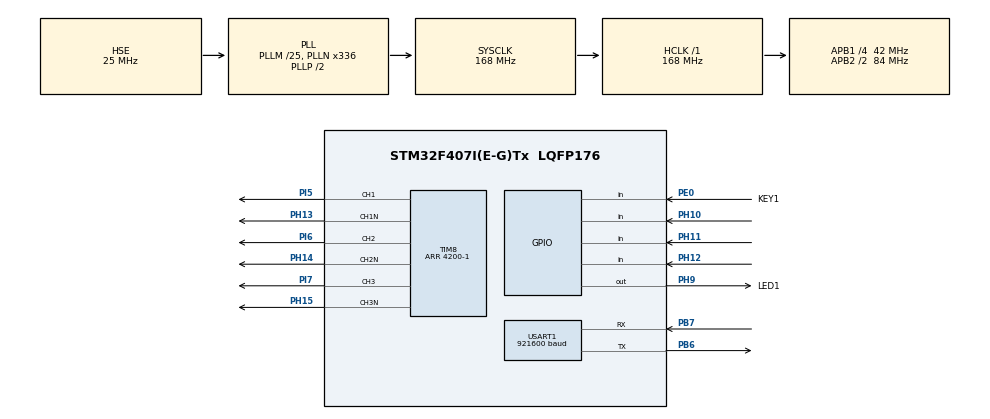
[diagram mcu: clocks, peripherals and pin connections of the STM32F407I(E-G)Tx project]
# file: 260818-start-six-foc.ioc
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Mcu.Family=STM32F4
Mcu.Name=STM32F407I(E-G)Tx
Mcu.Package=LQFP176
NVIC.PriorityGroup=NVIC_PRIORITYGROUP_4
PA13.Mode=Serial_Wire
PA13.Signal=SYS_JTMS-SWDIO
PA14.Mode=Serial_Wire
PA14.Signal=SYS_JTCK-SWCLK
PB6.Mode=Asynchronous
PB6.Signal=USART1_TX
PB7.Mode=Asynchronous
PB7.Signal=USART1_RX
PC14-OSC32_IN.Mode=LSE-External-Oscillator
PC14-OSC32_IN.Signal=RCC_OSC32_IN
PC15-OSC32_OUT.Mode=LSE-External-Oscillator
PC15-OSC32_OUT.Signal=RCC_OSC32_OUT
PE0.GPIO_Label=KEY1
PE0.GPIO_PuPd=GPIO_PULLUP
PE0.Signal=GPIO_Input
PH0-OSC_IN.Mode=HSE-External-Oscillator
PH0-OSC_IN.Signal=RCC_OSC_IN
PH1-OSC_OUT.Mode=HSE-External-Oscillator
PH1-OSC_OUT.Signal=RCC_OSC_OUT
PH10.GPIO_PuPd=GPIO_PULLUP
PH10.Signal=GPIO_Input
PH11.GPIO_PuPd=GPIO_PULLUP
PH11.Signal=GPIO_Input
PH12.GPIO_PuPd=GPIO_PULLUP
PH12.Signal=GPIO_Input
PH13.Mode=PWM Generation1 CH1 CH1N
PH13.Signal=TIM8_CH1N
PH14.Mode=PWM Generation2 CH2 CH2N
PH14.Signal=TIM8_CH2N
PH15.Mode=PWM Generation3 CH3 CH3N
PH15.Signal=TIM8_CH3N
PH9.GPIO_Label=LED1
PH9.Signal=GPIO_Output
PI5.Signal=S_TIM8_CH1
PI6.Signal=S_TIM8_CH2
PI7.Signal=S_TIM8_CH3
ProjectManager.HeapSize=0x200
ProjectManager.StackSize=0x400
ProjectManager.TargetToolchain=MDK-ARM V5.32
RCC.48MHZClocksFreq_Value=84000000
RCC.AHBFreq_Value=168000000
RCC.APB1CLKDivider=RCC_HCLK_DIV4
RCC.APB1Freq_Value=42000000
RCC.APB1TimFreq_Value=84000000
RCC.APB2CLKDivider=RCC_HCLK_DIV2
RCC.APB2Freq_Value=84000000
RCC.APB2TimFreq_Value=168000000
RCC.CortexFreq_Value=168000000
RCC.HCLKFreq_Value=168000000
RCC.HSE_VALUE=25000000
RCC.HSI_VALUE=16000000
RCC.PLLM=25
RCC.PLLN=336
RCC.PLLSourceVirtual=RCC_PLLSOURCE_HSE
RCC.SYSCLKFreq_VALUE=168000000
RCC.SYSCLKSource=RCC_SYSCLKSOURCE_PLLCLK
RCC.VCOOutputFreq_Value=336000000
SH.S_TIM8_CH1.0=TIM8_CH1,PWM Generation1 CH1 CH1N
SH.S_TIM8_CH2.0=TIM8_CH2,PWM Generation2 CH2 CH2N
SH.S_TIM8_CH3.0=TIM8_CH3,PWM Generation3 CH3 CH3N
TIM8.Channel-PWM\ Generation1\ CH1\ CH1N=TIM_CHANNEL_1
TIM8.Channel-PWM\ Generation2\ CH2\ CH2N=TIM_CHANNEL_2
TIM8.Channel-PWM\ Generation3\ CH3\ CH3N=TIM_CHANNEL_3
TIM8.CounterMode=TIM_COUNTERMODE_CENTERALIGNED1
TIM8.DeadTime=34
TIM8.OffStateIDLEMode=TIM_OSSI_ENABLE
TIM8.OffStateRunMode=TIM_OSSR_ENABLE
TIM8.Period=4200-1
USART1.BaudRate=921600
USART1.VirtualMode=VM_ASYNC
board=custom

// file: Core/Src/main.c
/* USER CODE BEGIN Header */
/**
  ******************************************************************************
  * @file           : main.c
  * @brief          : Main program body
  ******************************************************************************
  * @attention
  *
  * Copyright (c) 2026 STMicroelectronics.
  * All rights reserved.
  *
  * This software is licensed under terms that can be found in the LICENSE file
  * in the root directory of this software component.
  * If no LICENSE file comes with this software, it is provided AS-IS.
  *
  ******************************************************************************
  */
/* USER CODE END Header */
#include "main.h"
#include "tim.h"
#include "usart.h"
#include "gpio.h"

void SystemClock_Config(void);
/* USER CODE BEGIN PFP */
static void Motor_SetStep(uint8_t step)
{
  uint32_t pwm_value = 420;

  HAL_TIM_PWM_Stop(&htim8, TIM_CHANNEL_1);
  HAL_TIM_PWM_Stop(&htim8, TIM_CHANNEL_2);
  HAL_TIM_PWM_Stop(&htim8, TIM_CHANNEL_3);

  HAL_TIMEx_PWMN_Stop(&htim8, TIM_CHANNEL_1);
  HAL_TIMEx_PWMN_Stop(&htim8, TIM_CHANNEL_2);
  HAL_TIMEx_PWMN_Stop(&htim8, TIM_CHANNEL_3);

  switch (step)
  {
    case 1: //A+ B-
      __HAL_TIM_SET_COMPARE(&htim8, TIM_CHANNEL_1, pwm_value);
      __HAL_TIM_SET_COMPARE(&htim8, TIM_CHANNEL_2, 65535); //直接拉到最满，确保恒定导通
      HAL_TIM_PWM_Start(&htim8, TIM_CHANNEL_1);
      HAL_TIMEx_PWMN_Start(&htim8, TIM_CHANNEL_2);
      break;

    case 2: //B- C+
      __HAL_TIM_SET_COMPARE(&htim8, TIM_CHANNEL_3, pwm_value);
      __HAL_TIM_SET_COMPARE(&htim8, TIM_CHANNEL_2, 65535); //直接拉到最满，确保恒定导通
      HAL_TIM_PWM_Start(&htim8, TIM_CHANNEL_3);
      HAL_TIMEx_PWMN_Start(&htim8, TIM_CHANNEL_2);
      break;

    case 3: //A- C+
      __HAL_TIM_SET_COMPARE(&htim8, TIM_CHANNEL_3, pwm_value);
      __HAL_TIM_SET_COMPARE(&htim8, TIM_CHANNEL_1, 65535); //直接拉到最满，确保恒定导通
      HAL_TIM_PWM_Start(&htim8, TIM_CHANNEL_3);
      HAL_TIMEx_PWMN_Start(&htim8, TIM_CHANNEL_1);
      break;

    case 4: //A- B+
      __HAL_TIM_SET_COMPARE(&htim8, TIM_CHANNEL_2, pwm_value);
      __HAL_TIM_SET_COMPARE(&htim8, TIM_CHANNEL_1, 65535); //直接拉到最满，确保恒定导通
      HAL_TIM_PWM_Start(&htim8, TIM_CHANNEL_2);
      HAL_TIMEx_PWMN_Start(&htim8, TIM_CHANNEL_1);
      break;

    case 5: //C- B+
      __HAL_TIM_SET_COMPARE(&htim8, TIM_CHANNEL_2, pwm_value);
      __HAL_TIM_SET_COMPARE(&htim8, TIM_CHANNEL_3, 65535); //直接拉到最满，确保恒定导通
      HAL_TIM_PWM_Start(&htim8, TIM_CHANNEL_2);
      HAL_TIMEx_PWMN_Start(&htim8, TIM_CHANNEL_3);
      break;

    case 6: //C- a+
      __HAL_TIM_SET_COMPARE(&htim8, TIM_CHANNEL_1, pwm_value);
      __HAL_TIM_SET_COMPARE(&htim8, TIM_CHANNEL_3, 65535); //直接拉到最满，确保恒定导通
      HAL_TIM_PWM_Start(&htim8, TIM_CHANNEL_1);
      HAL_TIMEx_PWMN_Start(&htim8, TIM_CHANNEL_3);
      break;

    default:
            /* 非法状态保持三相关闭 */
      break;
  }
}

static uint8_t HALL_Read(void)
{
    uint8_t hall_state = 0;

    hall_state |= HAL_GPIO_ReadPin(GPIOH, GPIO_PIN_10) << 2;
    hall_state |= HAL_GPIO_ReadPin(GPIOH, GPIO_PIN_11) << 1;
    hall_state |= HAL_GPIO_ReadPin(GPIOH, GPIO_PIN_12);

    return hall_state;
}
/* USER CODE END PFP */

int main(void)
{

  /* USER CODE BEGIN 1 */
uint8_t motor_step = 2;
  /* USER CODE END 1 */

  /* MCU Configuration--------------------------------------------------------*/

  /* Reset of all peripherals, Initializes the Flash interface and the Systick. */
  HAL_Init();

  /* Configure the system clock */
  SystemClock_Config();

  /* Initialize all configured peripherals */
  MX_GPIO_Init();
  MX_TIM8_Init();
  MX_USART1_UART_Init();
  /* USER CODE BEGIN 2 */
HAL_GPIO_WritePin(LED1_GPIO_Port, LED1_Pin, GPIO_PIN_RESET);

/*
 * CubeMX的HAL_TIM_PWM_ConfigChannel会开启CCR预装载。
 * 当前模仿502，让CCR修改立即生效。
 */
__HAL_TIM_DISABLE_OCxPRELOAD(&htim8, TIM_CHANNEL_1);
__HAL_TIM_DISABLE_OCxPRELOAD(&htim8, TIM_CHANNEL_2);
__HAL_TIM_DISABLE_OCxPRELOAD(&htim8, TIM_CHANNEL_3);

/* 先配置第一拍：A+、B- */
Motor_SetStep(1);

/*
 * 第一次测试时先注释这一句，只观察六路逻辑波形。
 * 波形正确并接好限流电源后，再取消注释。
 */
HAL_GPIO_WritePin(LED1_GPIO_Port, LED1_Pin, GPIO_PIN_SET);
HAL_Delay(300);
  /* USER CODE END 2 */

  /* Infinite loop */
  /* USER CODE BEGIN WHILE */
  while (1)
  {
		// HAL_GPIO_TogglePin(LED1_GPIO_Port,LED1_Pin);
		// HAL_Delay(1000);
    Motor_SetStep(motor_step);

    motor_step++;

    if (motor_step > 6)
    {
        motor_step = 1;
    }
		volatile uint8_t i = HALL_Read();
    /* 每20ms换一拍 */
    HAL_Delay(10);
    /* USER CODE END WHILE */

  }
}

void SystemClock_Config(void)
{
  RCC_OscInitTypeDef RCC_OscInitStruct = {0};
  RCC_ClkInitTypeDef RCC_ClkInitStruct = {0};

  /** Configure the main internal regulator output voltage
  */
  __HAL_RCC_PWR_CLK_ENABLE();
  __HAL_PWR_VOLTAGESCALING_CONFIG(PWR_REGULATOR_VOLTAGE_SCALE1);

  /** Initializes the RCC Oscillators according to the specified parameters
  * in the RCC_OscInitTypeDef structure.
  */
  RCC_OscInitStruct.OscillatorType = RCC_OSCILLATORTYPE_HSE;
  RCC_OscInitStruct.HSEState = RCC_HSE_ON;
  RCC_OscInitStruct.PLL.PLLState = RCC_PLL_ON;
  RCC_OscInitStruct.PLL.PLLSource = RCC_PLLSOURCE_HSE;
  RCC_OscInitStruct.PLL.PLLM = 25;
  RCC_OscInitStruct.PLL.PLLN = 336;
  RCC_OscInitStruct.PLL.PLLP = RCC_PLLP_DIV2;
  RCC_OscInitStruct.PLL.PLLQ = 4;
  if (HAL_RCC_OscConfig(&RCC_OscInitStruct) != HAL_OK)
  {
    Error_Handler();
  }

  /** Initializes the CPU, AHB and APB buses clocks
  */
  RCC_ClkInitStruct.ClockType = RCC_CLOCKTYPE_HCLK|RCC_CLOCKTYPE_SYSCLK
                              |RCC_CLOCKTYPE_PCLK1|RCC_CLOCKTYPE_PCLK2;
  RCC_ClkInitStruct.SYSCLKSource = RCC_SYSCLKSOURCE_PLLCLK;
  RCC_ClkInitStruct.AHBCLKDivider = RCC_SYSCLK_DIV1;
  RCC_ClkInitStruct.APB1CLKDivider = RCC_HCLK_DIV4;
  RCC_ClkInitStruct.APB2CLKDivider = RCC_HCLK_DIV2;

  if (HAL_RCC_ClockConfig(&RCC_ClkInitStruct, FLASH_LATENCY_5) != HAL_OK)
  {
    Error_Handler();
  }
}

void Error_Handler(void)
{
  __disable_irq();
  while (1)
  {
  }
}
